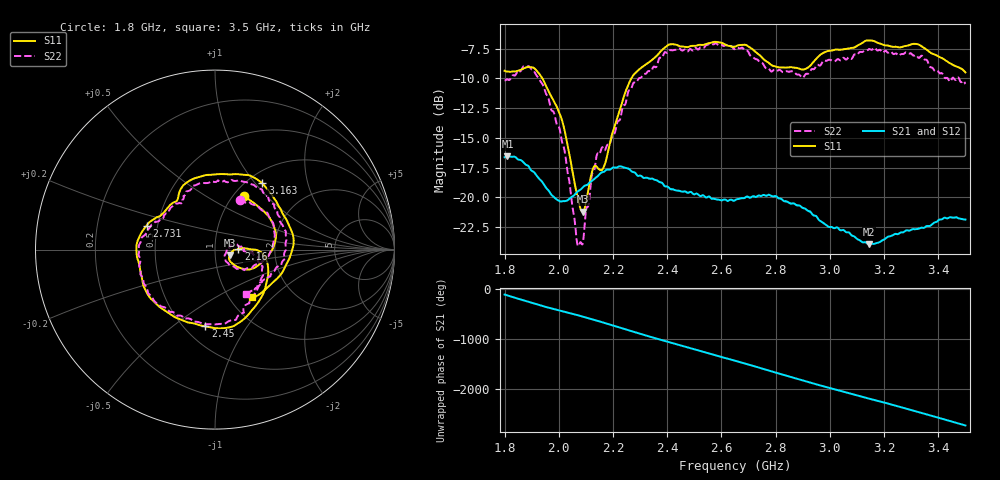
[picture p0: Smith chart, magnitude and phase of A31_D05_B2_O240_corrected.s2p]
! Created with skrf 1.9.0 (http://scikit-rf.org).
# Hz S RI R 50.0
!freq ReS11 ImS11 ReS21 ImS21 ReS12 ImS12 ReS22 ImS22
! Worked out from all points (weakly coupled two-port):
!   1601 points, 1.8 GHz to 3.5 GHz, reference 50 ohm
!   highest |S21| = -16.54 dB at 1.811 GHz (marker M1); lowest = -23.9 dB at 3.143 GHz (marker M2)
!   lowest |S11| = -21.2 dB at 2.089 GHz (marker M3), VSWR 1.19, Z = 58.8 - j3.62 ohm
!   |S11| at or under -10 dB: 1.939 GHz to 2.267 GHz (328.2 MHz wide, 15.6 % of centre)
!   |S22| runs from -24.1 to -7.0 dB; largest |S21 - S12| = 0.0027
!   S11 on the Smith chart (normalised r, x): 1.8 GHz: 1.12, +0.76; 2.16 GHz: 1.30, +0.00; 2.45 GHz: 0.63, -0.66; 2.731 GHz: 0.43, +0.14; 3.163 GHz: 1.17, +1.09; 3.5 GHz: 1.26, -0.76
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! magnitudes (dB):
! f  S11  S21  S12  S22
! 1.8 GHz  -9.4  -16.6  -16.6  -10.2
! 1.811 GHz  -9.4  -16.5  -16.5  -10.1
! 1.887 GHz  -9.0  -17.4  -17.4  -9.0
! 1.941 GHz  -10.1  -18.8  -18.8  -10.6
! 2.011 GHz  -13.5  -20.3  -20.3  -15.3
! 2.067 GHz  -19.7  -19.6  -19.6  -23.7
! 2.084 GHz  -21.1  -19.3  -19.2  -23.9
! 2.089 GHz  -21.2  -19.1  -19.2  -23.8
! 2.127 GHz  -17.5  -18.5  -18.5  -17.9
! 2.16 GHz  -17.7  -17.9  -17.8  -15.8
! 2.263 GHz  -10.2  -17.7  -17.7  -11.0
! 2.367 GHz  -7.9  -18.6  -18.6  -8.5
! 2.45 GHz  -7.3  -19.5  -19.5  -7.6
! 2.65 GHz  -7.3  -20.2  -20.2  -7.5
! 2.731 GHz  -7.9  -19.9  -19.9  -8.4
! 2.81 GHz  -9.1  -20.1  -20.0  -9.3
! 2.934 GHz  -8.8  -21.4  -21.3  -9.2
! 3.143 GHz  -6.8  -23.9  -23.8  -7.6
! 3.163 GHz  -6.9  -23.9  -23.9  -7.4
! 3.217 GHz  -7.3  -23.3  -23.3  -7.8
! 3.326 GHz  -7.1  -22.6  -22.6  -8.2
! 3.5 GHz  -9.5  -21.9  -21.8  -10.5
